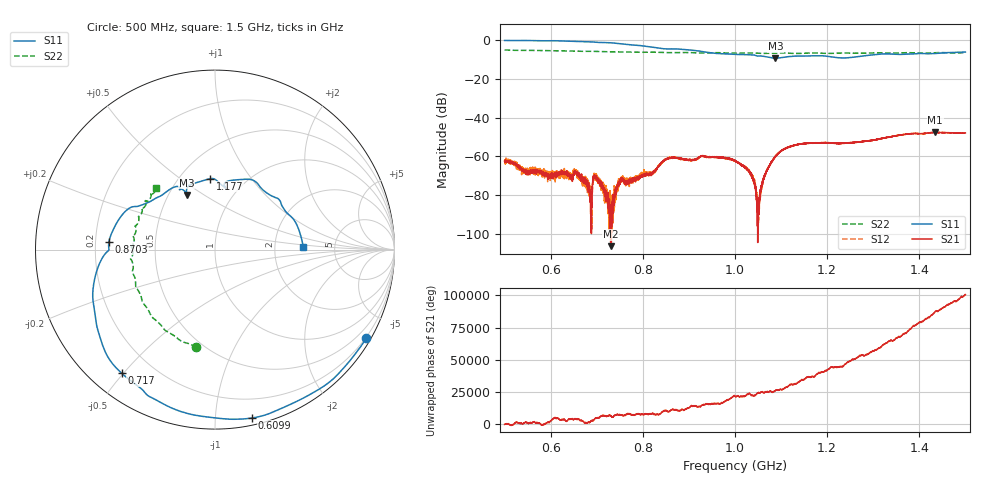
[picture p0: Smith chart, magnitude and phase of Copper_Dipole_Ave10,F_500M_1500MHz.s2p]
!  08/05/2026  13:58:28
! Ref Plane: 0.000 mm
# MHZ S MA R  50
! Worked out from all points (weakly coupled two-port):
!   10001 points, 500 MHz to 1.5 GHz, reference 50 ohm
!   highest |S21| = -47.63 dB at 1.434 GHz (marker M1); lowest = -106.3 dB at 730.7 MHz (marker M2)
!   lowest |S11| = -9.3 dB at 1.088 GHz (marker M3), VSWR 2.04, Z = 30.8 + j21.3 ohm
!   |S11| at or under -10 dB: nowhere
!   |S22| runs from -6.9 to -5.1 dB; largest |S21 - S12| = 0.00019
!   S11 on the Smith chart (normalised r, x): 500 MHz: 0.16, -3.67; 609.9 MHz: 0.05, -1.24; 717 MHz: 0.09, -0.49; 870.3 MHz: 0.26, +0.04; 1.177 GHz: 0.70, +0.65; 1.5 GHz: 2.93, +0.11
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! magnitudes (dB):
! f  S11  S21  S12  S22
! 500 MHz  -0.2  -62.4  -62.7  -5.1
! 548.3 MHz  -0.2  -68.2  -67.3  -5.3
! 609.9 MHz  -0.3  -70.1  -73.6  -5.5
! 654.8 MHz  -0.7  -68.1  -68.3  -5.8
! 666.7 MHz  -0.7  -71.8  -70.8  -5.8
! 685.5 MHz  -0.9  -80.7  -79.7  -5.8
! 698.2 MHz  -1.2  -70.2  -69.4  -5.8
! 717 MHz  -1.3  -78.1  -75.5  -6.0
! 730.7 MHz  -1.4  -106.3  -93.0  -6.0
! 753.3 MHz  -2.0  -71.6  -70.7  -6.0
! 833.4 MHz  -4.1  -65.0  -65.2  -6.3
! 870.3 MHz  -4.5  -60.5  -60.5  -6.5
! 1 GHz  -7.3  -62.4  -62.2  -6.8
! 1.032 GHz  -7.6  -68.3  -67.9  -6.6
! 1.05 GHz  -8.2  -89.5  -91.9  -6.8
! 1.069 GHz  -8.7  -67.6  -67.5  -6.9
! 1.088 GHz  -9.3  -60.1  -60.2  -6.7
! 1.167 GHz  -8.1  -53.1  -53.2  -6.7
! 1.177 GHz  -8.0  -53.0  -52.9  -6.7
! 1.333 GHz  -7.1  -50.1  -50.0  -6.8
! 1.434 GHz  -6.9  -47.6  -47.7  -6.5
! 1.5 GHz  -6.2  -47.9  -47.8  -6.4
